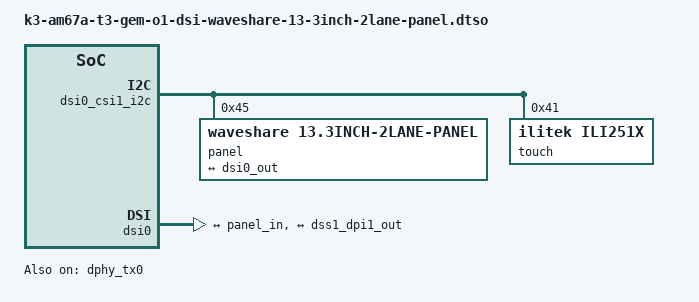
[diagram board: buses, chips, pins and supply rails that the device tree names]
// SPDX-License-Identifier: GPL-2.0
/**
 * DT Overlay for Waveshare 10.1inch touchscreen panel interfaced with DSI
 *
 * Waveshare DSI Panel: https://www.waveshare.com/13.3inch-dsi-lcd.htm
 *
 * Copyright (C) 2025 T3 Foundation - https://www.t3vakfi.org/
 */

/dts-v1/;
/plugin/;

#include <dt-bindings/gpio/gpio.h>
#include <dt-bindings/interrupt-controller/irq.h>

/*
 * Helper to show loaded overlays under: /proc/device-tree/chosen/overlays/
 */
&{/chosen} {
	overlays {
		k3-am67a-t3-gem-o1-dsi-waveshare-13-3inch-2lane-panel.kernel = __TIMESTAMP__;
	};
};

&{/} {
	mipi_switch: mipi-switch {
		oe-pin {
			default-state = "off";
		};

		sel-pin {
			default-state = "off";
		};
	};

};

&dphy_tx0 {
	status = "okay";
};

&dsi0_csi1_i2c {
	#address-cells = <1>;
	#size-cells = <0>;

	panel: panel_disp1@45 {
		reg = <0x45>;
		compatible = "waveshare,13.3inch-2lane-panel";

		port {
			panel_in: endpoint {
				remote-endpoint = <&dsi0_out>;
			};
		};
	};

	touch: ilitek@41 {
		reg = <0x41>;
		compatible = "ilitek,ili251x";
	};
};

&dsi0 {
	status = "okay";
	#address-cells = <1>;
	#size-cells = <0>;

	ports {
		#address-cells = <1>;
		#size-cells = <0>;

		port@0 {
			reg = <0>;
			dsi0_out: endpoint {
				remote-endpoint = <&panel_in>;
			};
		};

		port@1 {
			reg = <1>;
			dsi0_in: endpoint {
				remote-endpoint = <&dss1_dpi1_out>;
			};
		};
	};

};

&dss1_ports {
	#address-cells = <1>;
	#size-cells = <0>;

	/* DSS1-VP2: DSI Output */
	port@1 {
		reg = <1>;
		dss1_dpi1_out: endpoint {
			remote-endpoint = <&dsi0_in>;
		};
	};
};
